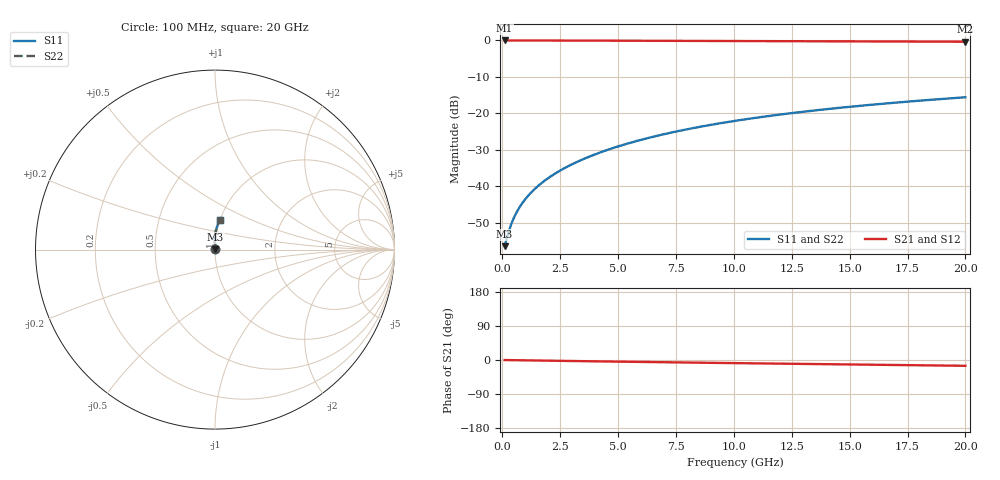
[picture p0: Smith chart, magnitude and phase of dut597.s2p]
! Touchstone file exported from HFSS 2024.1.0
!  File:  C:/UserFiles/LocalFiles/RDL_TSV_Batchsim/temp_RDL_bottom_597_1779691329.aedt
!  Generated:  02:45:04 PM May 25, 2026
!  Design:  RDL_bottom
!  Project:  temp_RDL_bottom_597_1779691329
!  Setup:  Setup1
!  Solution:  Sweep
! Variables:
!  dtsv = 10.80580581um
!  hbump = 3um
!  htsv = 62.18um
!  ldown = 176.86um
!  lrdl = 100um
!  p = 40
!  p1 = 57.33um
!  rhole = 1um
!  t = 450um
!  tdown = 2.29um
!  trdl = 3.915915916um
!  wdown = 29.95um
!  wrdl = 20um
# GHz S MA R 50.000000
! Terminal data exported
! Port[1] = RDL1_T1
! Port[2] = RDL1_T2
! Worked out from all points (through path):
!   200 points, 100 MHz to 20 GHz, reference 50 ohm
!   highest |S21| = -0.01 dB at 100 MHz (marker M1); lowest = -0.4 dB at 20 GHz (marker M2)
!   group delay of S21, straight-line fit = 2.1 ps
!   lowest |S11| = -56.4 dB at 100 MHz (marker M3), VSWR 1.00, Z = 50.1 + j0.0724 ohm
!   |S11| at or under -10 dB: start of sweep to end of sweep
!   |S22| runs from -56.4 to -15.6 dB; largest |S21 - S12| = 3.4e-15
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0.1  0.001522 28.3  0.9987 -0.1  0.9987 -0.1  0.001522 28.3
! Gamma 0 0 0 0
! Port Impedance 50 0 50 0
0.3  0.002544 55.9  0.9985 -0.3  0.9985 -0.3  0.002544 55.9
0.4  0.003131 62.1  0.9984 -0.4  0.9984 -0.4  0.003131 62.1
0.5  0.003724 66.3  0.9984 -0.5  0.9984 -0.5  0.003724 66.3
0.6  0.00432 69.5  0.9983 -0.6  0.9983 -0.6  0.00432 69.5
0.8  0.005521 74.1  0.9981 -0.7  0.9981 -0.7  0.005521 74.1
1  0.006739 77.3  0.9979 -0.9  0.9979 -0.9  0.006739 77.3
1.2  0.007979 79.8  0.9977 -1.1  0.9977 -1.1  0.007979 79.8
1.7  0.01117 84.0  0.9972 -1.5  0.9972 -1.5  0.01117 84.0
2.2  0.01448 86.8  0.9965 -2.0  0.9965 -2.0  0.01448 86.8
2.8  0.01862 89.0  0.9956 -2.5  0.9956 -2.5  0.01862 89.0
3.5  0.02369 90.6  0.9943 -3.1  0.9943 -3.1  0.02369 90.6
4.2  0.029 91.7  0.9928 -3.7  0.9928 -3.7  0.029 91.7
5  0.03534 92.3  0.991 -4.4  0.991 -4.4  0.03534 92.4
5.9  0.04275 92.6  0.989 -5.1  0.989 -5.1  0.04275 92.6
6.8  0.05041 92.4  0.9869 -5.8  0.9869 -5.8  0.05041 92.4
8.4  0.06441 91.6  0.9833 -7.0  0.9833 -7.0  0.06441 91.6
10.1  0.07957 90.2  0.9797 -8.3  0.9797 -8.3  0.07957 90.2
11.7  0.09391 88.7  0.9763 -9.4  0.9763 -9.4  0.09391 88.7
13.4  0.1091 87.0  0.9729 -10.7  0.9729 -10.7  0.1091 87.0
16.7  0.1381 83.8  0.9664 -13.0  0.9664 -13.0  0.1381 83.8
20  0.1665 80.8  0.9599 -15.3  0.9599 -15.3  0.1665 80.8
